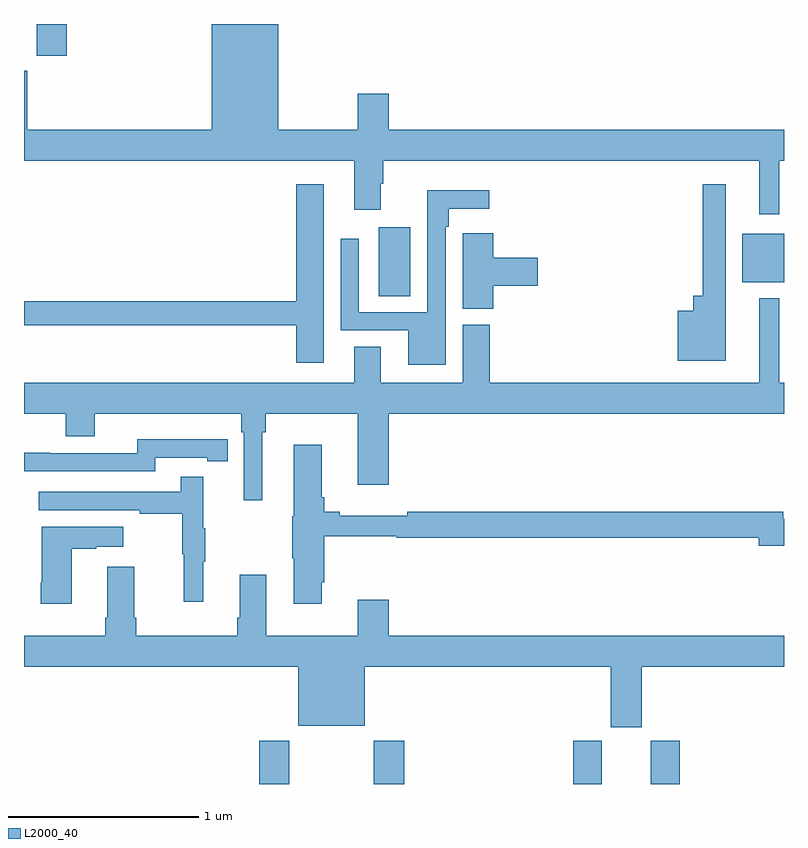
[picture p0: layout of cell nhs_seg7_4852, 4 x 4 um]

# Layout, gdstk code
import gdstk
lib = gdstk.Library(unit=1e-6, precision=1e-09)
def R(c, l, rs):  # rectangles x0, y0, x1, y1
    for r in rs: c.add(gdstk.rectangle(r[:2], r[2:], *l))
def P(c, l, *ps):  # polygons
    for p in ps: c.add(gdstk.Polygon(p, *l))
L2000_40 = (2000, 40)

nhs_seg7_4852 = lib.new_cell('nhs_seg7_4852')
R(nhs_seg7_4852, L2000_40, [(416.237,1000,416.397,1000.228), (416.842,1000,417.002,1000.228), (417.89,1000,418.042,1000.227), (418.298,1000,418.451,1000.227), (416.867,1002.568,417.034,1002.931), (418.781,1002.641,419,1002.895), (415.066,1003.833,415.226,1004)])
P(nhs_seg7_4852, L2000_40, [(416.738,1003.023),(416.878,1003.023),(416.878,1003.16),(416.891,1003.16),(416.891,1003.28),(418.871,1003.28),(418.871,1002.999),(418.975,1002.999),(418.975,1003.28),(419,1003.28),(419,1003.444),(416.92,1003.444),(416.92,1003.633),(416.756,1003.633),(416.756,1003.444),(416.338,1003.444),(416.338,1004),(415.988,1004),(415.988,1003.444),(415.018,1003.444),(415.018,1003.753),(415,1003.753),(415,1003.28),(416.738,1003.28)],
  [(416.578,1003.156),(416.432,1003.156),(416.432,1002.542),(415,1002.542),(415,1002.414),(416.432,1002.414),(416.432,1002.216),(416.578,1002.216)],
  [(418.693,1003.156),(418.572,1003.156),(418.572,1002.571),(418.523,1002.571),(418.523,1002.49),(418.442,1002.49),(418.442,1002.227),(418.693,1002.227)],
  [(417.219,1002.932),(417.235,1002.932),(417.235,1003.028),(417.448,1003.028),(417.448,1003.126),(417.123,1003.126),(417.123,1002.483),(416.763,1002.483),(416.763,1002.871),(416.667,1002.871),(416.667,1002.387),(417.023,1002.387),(417.023,1002.206),(417.219,1002.206)],
  [(417.47,1002.623),(417.703,1002.623),(417.703,1002.77),(417.47,1002.77),(417.47,1002.898),(417.309,1002.898),(417.309,1002.785),(417.308,1002.785),(417.308,1002.502),(417.47,1002.502)],
  [(415,1001.948),(415.22,1001.948),(415.22,1001.831),(415.372,1001.831),(415.372,1001.948),(416.144,1001.948),(416.144,1001.852),(416.157,1001.852),(416.157,1001.493),(416.254,1001.493),(416.254,1001.852),(416.273,1001.852),(416.273,1001.948),(416.756,1001.948),(416.756,1001.574),(416.92,1001.574),(416.92,1001.948),(419,1001.948),(419,1002.112),(418.975,1002.112),(418.975,1002.556),(418.871,1002.556),(418.871,1002.112),(417.452,1002.112),(417.452,1002.417),(417.308,1002.417),(417.308,1002.112),(416.878,1002.112),(416.878,1002.302),(416.738,1002.302),(416.738,1002.112),(415,1002.112)],
  [(415.692,1001.718),(415.964,1001.718),(415.964,1001.698),(416.072,1001.698),(416.072,1001.814),(415.964,1001.814),(415.964,1001.815),(415.596,1001.815),(415.596,1001.742),(415.136,1001.742),(415.136,1001.744),(415,1001.744),(415,1001.646),(415.692,1001.646)],
  [(416.566,1001.062),(416.579,1001.062),(416.579,1001.304),(416.962,1001.304),(416.962,1001.296),(418.868,1001.296),(418.868,1001.254),(419,1001.254),(419,1001.396),(418.996,1001.396),(418.996,1001.432),(417.016,1001.432),(417.016,1001.413),(416.662,1001.413),(416.662,1001.432),(416.579,1001.432),(416.579,1001.509),(416.566,1001.509),(416.566,1001.785),(416.42,1001.785),(416.42,1001.409),(416.413,1001.409),(416.413,1001.188),(416.42,1001.188),(416.42,1000.95),(416.566,1000.95)],
  [(415.943,1001.171),(415.954,1001.171),(415.954,1001.345),(415.943,1001.345),(415.943,1001.617),(415.825,1001.617),(415.825,1001.538),(415.077,1001.538),(415.077,1001.442),(415.609,1001.442),(415.609,1001.422),(415.833,1001.422),(415.833,1001.208),(415.84,1001.208),(415.84,1000.959),(415.943,1000.959)],
  [(415.252,1001.239),(415.379,1001.239),(415.379,1001.249),(415.522,1001.249),(415.522,1001.353),(415.094,1001.353),(415.094,1001.062),(415.087,1001.062),(415.087,1000.95),(415.252,1000.95)],
  [(418.252,1000.616),(419,1000.616),(419,1000.78),(416.92,1000.78),(416.92,1000.969),(416.756,1000.969),(416.756,1000.78),(416.275,1000.78),(416.275,1001.101),(416.135,1001.101),(416.135,1000.876),(416.123,1000.876),(416.123,1000.78),(415.592,1000.78),(415.592,1000.876),(415.579,1000.876),(415.579,1001.143),(415.439,1001.143),(415.439,1000.876),(415.427,1000.876),(415.427,1000.78),(415,1000.78),(415,1000.616),(416.444,1000.616),(416.444,1000.307),(416.794,1000.307),(416.794,1000.616),(418.088,1000.616),(418.088,1000.299),(418.252,1000.299)])

lib.write_gds('nhs_seg7_4852.gds')
